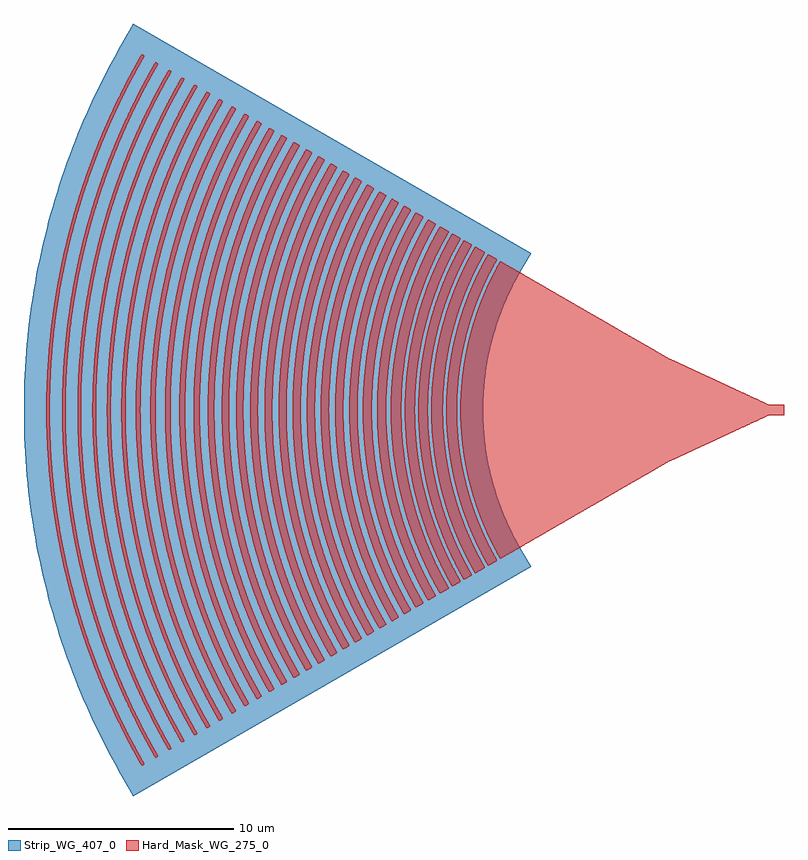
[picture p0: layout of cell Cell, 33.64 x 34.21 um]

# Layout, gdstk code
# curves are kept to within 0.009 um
import gdstk
lib = gdstk.Library(unit=1e-6, precision=1e-09)
def P(c, l, *ps):  # polygons
    for p in ps: c.add(gdstk.Polygon(p, *l))
Hard_Mask_WG_275_0 = (275, 0)
Strip_WG_407_0 = (407, 0)

cell = lib.new_cell('Cell')
P(cell, Hard_Mask_WG_275_0, [(25.743,21.104),(25.692,21.15),(25.253,21.96),(24.988,22.5),(24.678,23.19),(24.435,23.79),(24.204,24.42),(23.988,25.08),(23.806,25.71),(23.54,26.82),(23.42,27.45),(23.325,28.05),(23.24,28.74),(23.182,29.4),(23.148,30),(23.136,30.6),(23.143,31.38),(23.172,31.98),(23.267,33.03),(23.356,33.69),(23.48,34.41),(23.592,34.95),(23.75,35.61),(23.898,36.15),(24.173,37.02),(24.344,37.5),(24.615,38.19),(24.918,38.88),(25.253,39.57),(25.692,40.38),(25.743,40.426),(25.995,40.29),(26.028,40.26),(26.026,40.23),(25.679,39.6),(25.377,39),(25.075,38.34),(24.838,37.77),(24.633,37.23),(24.417,36.6),(24.209,35.91),(24.028,35.22),(23.795,34.11),(23.644,33.12),(23.551,32.19),(23.522,31.74),(23.499,30.87),(23.522,29.79),(23.613,28.677),(23.763,27.605),(23.972,26.55),(24.119,25.95),(24.332,25.2),(24.548,24.54),(24.779,23.91),(25.049,23.25),(25.377,22.53),(25.679,21.93),(26.026,21.3),(26.028,21.27),(25.995,21.24)],
  [(15.843,15.38),(15.802,15.391),(15.693,15.575),(15.019,16.831),(14.511,17.881),(14.114,18.781),(13.727,19.741),(13.336,20.82),(13.035,21.75),(12.766,22.68),(12.529,23.61),(12.291,24.69),(12.109,25.68),(11.964,26.64),(11.84,27.69),(11.753,28.74),(11.71,29.55),(11.686,30.63),(11.695,31.5),(11.745,32.67),(11.834,33.78),(11.928,34.62),(12.079,35.67),(12.285,36.81),(12.529,37.92),(12.766,38.85),(13.035,39.78),(13.336,40.71),(13.727,41.789),(14.114,42.749),(14.511,43.649),(15.019,44.699),(15.693,45.955),(15.802,46.139),(15.843,46.15),(15.913,46.109),(15.933,46.079),(15.925,46.049),(15.379,45.059),(14.883,44.076),(14.433,43.1),(13.983,42.021),(13.679,41.219),(13.378,40.35),(13.079,39.39),(12.838,38.52),(12.603,37.56),(12.389,36.54),(12.211,35.52),(12.091,34.68),(11.971,33.6),(11.913,32.881),(11.853,31.688),(11.842,30.9),(11.851,29.91),(11.883,29.13),(11.942,28.26),(12.061,27.09),(12.211,26.01),(12.389,24.99),(12.603,23.97),(12.807,23.13),(13.079,22.14),(13.378,21.18),(13.679,20.311),(13.983,19.509),(14.433,18.43),(14.883,17.454),(15.379,16.471),(15.925,15.481),(15.933,15.451),(15.913,15.421)],
  [(30.543,23.879),(30.511,23.91),(30.443,24.03),(30.172,24.54),(29.927,25.05),(29.744,25.47),(29.447,26.25),(29.178,27.12),(28.97,27.99),(28.82,28.86),(28.726,29.73),(28.689,30.6),(28.699,31.35),(28.726,31.8),(28.788,32.43),(28.934,33.36),(29.122,34.2),(29.3,34.83),(29.447,35.28),(29.744,36.06),(29.927,36.48),(30.172,36.99),(30.443,37.5),(30.511,37.62),(30.543,37.651),(30.573,37.646),(30.903,37.456),(30.935,37.41),(30.498,36.57),(30.175,35.85),(29.881,35.07),(29.641,34.29),(29.433,33.42),(29.311,32.73),(29.252,32.28),(29.195,31.65),(29.166,30.87),(29.191,29.94),(29.252,29.25),(29.37,28.44),(29.491,27.84),(29.585,27.45),(29.821,26.64),(30.114,25.83),(30.469,25.02),(30.935,24.12),(30.903,24.074),(30.573,23.884)],
  [(15.213,15.029),(15.181,15.061),(14.877,15.601),(14.281,16.741),(13.783,17.791),(13.393,18.691),(12.979,19.741),(12.648,20.671),(12.313,21.72),(12.082,22.53),(11.838,23.49),(11.626,24.45),(11.45,25.38),(11.274,26.52),(11.152,27.54),(11.064,28.56),(11.003,29.73),(10.988,30.54),(10.995,31.53),(11.032,32.46),(11.114,33.6),(11.238,34.74),(11.385,35.76),(11.566,36.78),(11.775,37.77),(12.018,38.76),(12.286,39.72),(12.618,40.77),(12.979,41.789),(13.368,42.779),(13.783,43.739),(14.281,44.789),(14.877,45.929),(15.181,46.469),(15.213,46.501),(15.303,46.462),(15.325,46.439),(15.324,46.409),(14.762,45.389),(14.223,44.318),(13.739,43.259),(13.317,42.239),(13.022,41.459),(12.691,40.5),(12.447,39.72),(12.154,38.67),(11.913,37.68),(11.729,36.81),(11.551,35.82),(11.401,34.8),(11.313,34.05),(11.224,33.06),(11.163,31.98),(11.143,30.99),(11.154,29.88),(11.191,28.98),(11.253,28.11),(11.371,26.97),(11.522,25.89),(11.7,24.87),(11.913,23.85),(12.123,22.98),(12.334,22.2),(12.633,21.21),(12.936,20.311),(13.233,19.507),(13.683,18.401),(14.19,17.281),(14.699,16.261),(15.324,15.121),(15.325,15.091),(15.303,15.068)],
  [(26.283,21.422),(26.253,21.454),(26.103,21.72),(25.801,22.29),(25.496,22.92),(25.244,23.49),(24.827,24.57),(24.647,25.11),(24.434,25.83),(24.167,26.94),(24.073,27.42),(23.961,28.11),(23.833,29.25),(23.785,30.06),(23.772,30.63),(23.78,31.35),(23.807,31.92),(23.863,32.61),(23.928,33.18),(24.016,33.78),(24.136,34.44),(24.378,35.49),(24.528,36.03),(24.765,36.78),(24.98,37.38),(25.194,37.92),(25.441,38.49),(25.696,39.03),(26.037,39.69),(26.253,40.076),(26.283,40.108),(26.313,40.106),(26.553,39.968),(26.58,39.93),(26.178,39.18),(25.925,38.67),(25.587,37.92),(25.38,37.41),(25.138,36.75),(24.961,36.21),(24.786,35.61),(24.603,34.883),(24.42,33.99),(24.273,33.017),(24.183,32.103),(24.152,31.59),(24.137,30.93),(24.152,29.94),(24.243,28.77),(24.364,27.87),(24.57,26.79),(24.722,26.16),(24.897,25.53),(25.138,24.78),(25.38,24.12),(25.587,23.61),(25.925,22.86),(26.178,22.35),(26.58,21.6),(26.553,21.562),(26.313,21.424)],
  [(19.773,17.657),(19.724,17.701),(19.554,18.001),(19.023,19.006),(18.655,19.771),(18.285,20.611),(17.961,21.42),(17.688,22.17),(17.422,22.98),(17.176,23.82),(16.939,24.75),(16.762,25.56),(16.611,26.37),(16.491,27.15),(16.397,27.9),(16.312,28.83),(16.257,29.85),(16.241,30.63),(16.247,31.38),(16.279,32.19),(16.341,33.06),(16.451,34.08),(16.572,34.92),(16.726,35.79),(16.939,36.78),(17.176,37.71),(17.422,38.55),(17.688,39.36),(17.961,40.11),(18.285,40.919),(18.655,41.759),(19.023,42.524),(19.554,43.529),(19.724,43.829),(19.773,43.873),(19.923,43.795),(19.951,43.769),(19.952,43.739),(19.521,42.959),(19.138,42.209),(18.718,41.309),(18.387,40.53),(18.031,39.6),(17.763,38.82),(17.493,37.938),(17.285,37.17),(17.133,36.54),(16.953,35.682),(16.803,34.83),(16.711,34.2),(16.622,33.45),(16.533,32.374),(16.5,31.71),(16.486,30.96),(16.5,29.82),(16.531,29.19),(16.593,28.379),(16.653,27.801),(16.74,27.12),(16.889,26.19),(17.073,25.26),(17.255,24.48),(17.462,23.7),(17.763,22.71),(18.031,21.93),(18.387,21),(18.718,20.221),(19.138,19.321),(19.521,18.571),(19.952,17.791),(19.951,17.761),(19.923,17.735)],
  [(21.423,18.605),(21.393,18.61),(21.355,18.661),(20.787,19.711),(20.403,20.501),(20.061,21.27),(19.758,22.02),(19.494,22.74),(19.274,23.4),(19.007,24.3),(18.828,24.99),(18.651,25.77),(18.501,26.55),(18.381,27.3),(18.285,28.05),(18.201,28.95),(18.161,29.61),(18.134,30.54),(18.137,31.23),(18.168,32.07),(18.225,32.88),(18.317,33.75),(18.431,34.56),(18.561,35.31),(18.736,36.15),(18.919,36.9),(19.127,37.65),(19.432,38.61),(19.667,39.27),(19.973,40.05),(20.366,40.949),(20.787,41.819),(21.355,42.869),(21.393,42.92),(21.423,42.925),(21.603,42.825),(21.635,42.779),(21.179,41.939),(20.875,41.339),(20.484,40.5),(20.155,39.72),(19.858,38.94),(19.62,38.25),(19.406,37.56),(19.175,36.72),(18.996,35.97),(18.842,35.22),(18.722,34.53),(18.631,33.9),(18.544,33.15),(18.483,32.43),(18.446,31.74),(18.427,30.96),(18.453,29.61),(18.511,28.74),(18.573,28.109),(18.664,27.39),(18.782,26.64),(18.963,25.71),(19.115,25.05),(19.323,24.259),(19.562,23.46),(19.858,22.59),(20.155,21.81),(20.484,21.03),(20.875,20.191),(21.179,19.591),(21.635,18.751),(21.603,18.705)],
  [(21.963,18.914),(21.933,18.917),(21.903,18.954),(21.363,19.949),(20.967,20.76),(20.659,21.45),(20.354,22.2),(20.057,23.01),(19.784,23.85),(19.577,24.57),(19.402,25.26),(19.217,26.1),(19.1,26.73),(18.983,27.48),(18.89,28.23),(18.826,28.92),(18.77,29.88),(18.756,30.63),(18.764,31.47),(18.797,32.19),(18.854,32.94),(18.943,33.75),(19.065,34.59),(19.217,35.43),(19.402,36.27),(19.577,36.96),(19.784,37.68),(20.057,38.52),(20.354,39.33),(20.659,40.08),(20.967,40.77),(21.363,41.581),(21.903,42.576),(21.933,42.613),(21.963,42.616),(22.173,42.495),(22.194,42.449),(21.8,41.729),(21.423,40.986),(21.059,40.2),(20.756,39.48),(20.459,38.7),(20.252,38.1),(20.01,37.32),(19.774,36.45),(19.619,35.79),(19.473,35.072),(19.354,34.38),(19.26,33.72),(19.171,32.91),(19.114,32.16),(19.075,30.99),(19.081,30.12),(19.112,29.4),(19.204,28.29),(19.292,27.57),(19.413,26.79),(19.561,26.01),(19.708,25.35),(19.9,24.6),(20.165,23.7),(20.459,22.83),(20.732,22.11),(21.059,21.33),(21.393,20.606),(21.721,19.951),(22.194,19.081),(22.173,19.035)],
  [(16.413,15.719),(16.378,15.751),(16.143,16.167),(15.601,17.191),(15.179,18.061),(14.715,19.111),(14.331,20.071),(13.995,21),(13.693,21.93),(13.424,22.86),(13.187,23.79),(12.981,24.72),(12.795,25.71),(12.652,26.64),(12.532,27.63),(12.438,28.71),(12.386,29.73),(12.369,30.6),(12.377,31.53),(12.434,32.76),(12.496,33.54),(12.612,34.59),(12.736,35.46),(12.915,36.48),(13.124,37.47),(13.336,38.34),(13.603,39.3),(13.934,40.35),(14.297,41.369),(14.64,42.239),(15.055,43.199),(15.481,44.099),(15.993,45.089),(16.343,45.719),(16.413,45.811),(16.503,45.769),(16.522,45.749),(16.521,45.719),(15.96,44.699),(15.477,43.739),(15.033,42.77),(14.577,41.669),(14.285,40.889),(14.007,40.08),(13.737,39.21),(13.472,38.25),(13.289,37.5),(13.084,36.54),(12.931,35.7),(12.783,34.711),(12.693,33.963),(12.603,32.971),(12.543,31.92),(12.524,30.93),(12.537,29.82),(12.571,29.04),(12.634,28.17),(12.753,27.051),(12.873,26.19),(13.049,25.17),(13.228,24.3),(13.472,23.28),(13.737,22.32),(14.007,21.45),(14.285,20.641),(14.577,19.861),(14.973,18.898),(15.477,17.791),(15.96,16.831),(16.521,15.811),(16.522,15.781),(16.503,15.761)],
  [(18.663,17.01),(18.633,17.015),(18.573,17.103),(17.943,18.27),(17.477,19.231),(17.119,20.041),(16.757,20.94),(16.483,21.69),(16.186,22.59),(15.915,23.52),(15.707,24.33),(15.501,25.26),(15.348,26.07),(15.199,27.03),(15.107,27.78),(15.017,28.77),(14.964,29.73),(14.947,30.54),(14.954,31.5),(14.988,32.31),(15.048,33.15),(15.138,34.02),(15.26,34.92),(15.407,35.79),(15.59,36.69),(15.827,37.68),(16.068,38.55),(16.401,39.6),(16.723,40.5),(17.056,41.339),(17.477,42.299),(17.912,43.199),(18.557,44.399),(18.609,44.489),(18.633,44.515),(18.663,44.52),(18.783,44.453),(18.804,44.429),(18.8,44.399),(18.289,43.469),(17.793,42.476),(17.343,41.476),(16.926,40.44),(16.686,39.78),(16.417,38.97),(16.201,38.25),(15.991,37.47),(15.813,36.72),(15.633,35.85),(15.511,35.16),(15.361,34.11),(15.273,33.3),(15.213,32.538),(15.182,31.98),(15.156,30.87),(15.173,29.82),(15.21,29.04),(15.273,28.23),(15.361,27.42),(15.511,26.37),(15.633,25.68),(15.813,24.81),(15.991,24.06),(16.201,23.28),(16.417,22.56),(16.686,21.75),(16.926,21.09),(17.343,20.054),(17.793,19.054),(18.289,18.061),(18.8,17.131),(18.804,17.101),(18.783,17.077)],
  [(19.203,17.33),(19.164,17.371),(18.903,17.836),(18.409,18.781),(18.05,19.531),(17.656,20.431),(17.3,21.33),(17.032,22.08),(16.788,22.83),(16.519,23.76),(16.307,24.6),(16.129,25.41),(15.947,26.4),(15.831,27.18),(15.741,27.93),(15.65,28.98),(15.615,29.61),(15.591,30.6),(15.607,31.68),(15.644,32.46),(15.705,33.24),(15.796,34.08),(15.947,35.13),(16.099,35.97),(16.279,36.81),(16.487,37.65),(16.724,38.49),(16.971,39.27),(17.3,40.2),(17.631,41.039),(18.05,41.999),(18.409,42.749),(18.903,43.694),(19.164,44.159),(19.203,44.2),(19.353,44.124),(19.379,44.099),(19.38,44.069),(18.963,43.316),(18.535,42.479),(18.153,41.663),(17.76,40.74),(17.459,39.96),(17.127,39),(16.887,38.22),(16.649,37.35),(16.443,36.48),(16.295,35.76),(16.144,34.89),(16.022,34.02),(15.932,33.18),(15.871,32.37),(15.841,31.77),(15.825,30.84),(15.841,29.76),(15.871,29.16),(15.932,28.35),(16.022,27.51),(16.144,26.64),(16.295,25.77),(16.443,25.05),(16.649,24.18),(16.887,23.31),(17.127,22.53),(17.459,21.57),(17.76,20.79),(18.153,19.867),(18.535,19.051),(18.963,18.214),(19.38,17.461),(19.379,17.431),(19.353,17.406)],
  [(24.663,20.479),(24.633,20.496),(24.603,20.54),(24.173,21.33),(23.848,21.99),(23.513,22.74),(23.236,23.43),(23.028,24),(22.793,24.72),(22.61,25.35),(22.456,25.95),(22.309,26.61),(22.189,27.24),(22.069,28.02),(21.948,29.16),(21.913,29.7),(21.886,30.57),(21.89,31.23),(21.916,31.89),(21.974,32.67),(22.038,33.27),(22.13,33.93),(22.244,34.59),(22.366,35.19),(22.546,35.94),(22.729,36.6),(22.936,37.26),(23.213,38.04),(23.488,38.73),(23.778,39.39),(24.112,40.08),(24.603,40.99),(24.633,41.034),(24.663,41.051),(24.933,40.9),(24.947,40.859),(24.602,40.23),(24.297,39.63),(24.03,39.06),(23.699,38.28),(23.459,37.65),(23.195,36.87),(22.981,36.15),(22.803,35.456),(22.566,34.32),(22.473,33.752),(22.385,33.09),(22.291,32.04),(22.262,31.47),(22.253,30.87),(22.262,30.06),(22.291,29.49),(22.385,28.44),(22.473,27.778),(22.566,27.21),(22.773,26.202),(22.981,25.38),(23.157,24.78),(23.374,24.12),(23.64,23.4),(23.937,22.68),(24.239,22.02),(24.539,21.42),(24.947,20.671),(24.933,20.63)],
  [(29.973,23.547),(29.936,23.58),(29.58,24.24),(29.176,25.11),(28.971,25.62),(28.787,26.13),(28.515,27.03),(28.311,27.9),(28.158,28.8),(28.068,29.64),(28.034,30.21),(28.026,30.66),(28.038,31.41),(28.068,31.89),(28.127,32.49),(28.276,33.45),(28.368,33.9),(28.515,34.5),(28.787,35.4),(28.971,35.91),(29.176,36.42),(29.58,37.29),(29.936,37.95),(29.973,37.983),(30.36,37.77),(30.395,37.74),(30.395,37.71),(29.964,36.9),(29.611,36.12),(29.283,35.25),(29.043,34.47),(28.833,33.6),(28.683,32.747),(28.594,31.98),(28.562,31.53),(28.543,30.81),(28.563,29.983),(28.652,29.01),(28.774,28.23),(28.979,27.3),(29.223,26.46),(29.574,25.5),(29.964,24.63),(30.395,23.82),(30.395,23.79),(30.36,23.76)],
  [(24.123,20.172),(24.077,20.221),(23.941,20.461),(23.544,21.21),(23.239,21.84),(22.934,22.53),(22.669,23.19),(22.398,23.94),(22.186,24.6),(22.005,25.23),(21.831,25.92),(21.681,26.61),(21.56,27.27),(21.473,27.84),(21.382,28.59),(21.32,29.31),(21.288,29.88),(21.273,30.63),(21.28,31.41),(21.314,32.13),(21.373,32.85),(21.437,33.42),(21.555,34.23),(21.675,34.89),(21.796,35.46),(21.973,36.18),(22.186,36.93),(22.398,37.59),(22.635,38.25),(22.884,38.88),(23.184,39.57),(23.454,40.14),(23.875,40.949),(24.077,41.309),(24.123,41.358),(24.153,41.353),(24.363,41.232),(24.401,41.189),(24.393,41.159),(23.997,40.44),(23.638,39.72),(23.378,39.15),(23.066,38.4),(22.798,37.68),(22.588,37.05),(22.408,36.45),(22.203,35.667),(21.961,34.53),(21.784,33.39),(21.723,32.853),(21.663,32.133),(21.633,31.568),(21.621,30.96),(21.633,29.962),(21.663,29.397),(21.723,28.677),(21.812,27.93),(21.903,27.33),(22.14,26.13),(22.323,25.391),(22.532,24.66),(22.798,23.85),(23.066,23.13),(23.274,22.62),(23.638,21.81),(23.997,21.09),(24.393,20.371),(24.401,20.341),(24.363,20.298),(24.153,20.177)],
  [(22.503,19.231),(22.473,19.245),(22.442,19.291),(21.953,20.191),(21.584,20.94),(21.235,21.72),(20.954,22.41),(20.657,23.22),(20.478,23.76),(20.236,24.57),(20.034,25.35),(19.878,26.04),(19.729,26.82),(19.612,27.57),(19.523,28.29),(19.459,28.98),(19.403,29.97),(19.391,30.54),(19.398,31.41),(19.428,32.1),(19.484,32.85),(19.572,33.66),(19.665,34.32),(19.812,35.16),(19.97,35.91),(20.147,36.63),(20.385,37.47),(20.626,38.22),(20.874,38.91),(21.147,39.6),(21.473,40.35),(21.843,41.122),(22.374,42.119),(22.46,42.269),(22.503,42.299),(22.713,42.185),(22.75,42.149),(22.746,42.119),(22.316,41.339),(21.926,40.56),(21.638,39.93),(21.3,39.12),(20.998,38.31),(20.759,37.59),(20.554,36.9),(20.343,36.09),(20.22,35.55),(20.072,34.8),(19.954,34.08),(19.863,33.39),(19.804,32.82),(19.743,31.967),(19.711,30.84),(19.742,29.58),(19.804,28.71),(19.863,28.14),(20.04,26.91),(20.164,26.25),(20.343,25.44),(20.554,24.63),(20.759,23.94),(20.998,23.22),(21.3,22.41),(21.638,21.6),(21.926,20.97),(22.316,20.191),(22.746,19.411),(22.75,19.381),(22.713,19.345)],
  [(20.853,18.287),(20.549,18.811),(20.097,19.681),(19.741,20.431),(19.453,21.09),(19.152,21.84),(18.889,22.56),(18.623,23.37),(18.378,24.21),(18.201,24.9),(17.989,25.86),(17.836,26.7),(17.72,27.48),(17.632,28.23),(17.571,28.92),(17.517,29.94),(17.503,30.66),(17.509,31.35),(17.54,32.13),(17.595,32.91),(17.712,33.99),(17.836,34.83),(17.989,35.67),(18.11,36.24),(18.346,37.2),(18.586,38.04),(18.827,38.79),(19.095,39.54),(19.378,40.26),(19.741,41.099),(20.097,41.849),(20.549,42.719),(20.853,43.243),(20.883,43.241),(21.055,43.139),(21.077,43.109),(21.07,43.079),(20.673,42.362),(20.274,41.579),(19.858,40.68),(19.556,39.96),(19.291,39.27),(19.02,38.49),(18.751,37.62),(18.517,36.75),(18.329,35.94),(18.18,35.19),(18.06,34.47),(17.973,33.842),(17.883,33.013),(17.823,32.22),(17.792,31.56),(17.783,30.96),(17.792,29.97),(17.823,29.31),(17.883,28.517),(17.943,27.938),(18.06,27.06),(18.18,26.34),(18.329,25.59),(18.48,24.93),(18.717,24.03),(18.933,23.31),(19.226,22.44),(19.532,21.63),(19.858,20.85),(20.274,19.951),(20.673,19.168),(21.07,18.451),(21.077,18.421),(21.055,18.391),(20.883,18.289)],
  [(26.823,21.733),(26.793,21.765),(26.632,22.05),(26.272,22.74),(25.989,23.34),(25.756,23.88),(25.544,24.42),(25.341,24.99),(25.006,26.1),(24.857,26.7),(24.735,27.27),(24.556,28.35),(24.498,28.83),(24.437,29.52),(24.409,30.03),(24.396,30.69),(24.401,31.26),(24.437,32.01),(24.498,32.7),(24.556,33.18),(24.735,34.26),(24.857,34.83),(25.006,35.43),(25.341,36.54),(25.544,37.11),(25.756,37.65),(25.989,38.19),(26.272,38.79),(26.632,39.48),(26.793,39.765),(26.823,39.797),(26.853,39.794),(27.087,39.66),(27.122,39.63),(27.123,39.599),(26.823,39.053),(26.552,38.52),(26.287,37.95),(26.01,37.29),(25.764,36.63),(25.556,36),(25.382,35.4),(25.23,34.8),(25.055,33.96),(24.902,32.97),(24.812,32.07),(24.783,31.59),(24.767,30.9),(24.783,29.94),(24.812,29.46),(24.873,28.808),(24.993,27.93),(25.176,26.97),(25.323,26.354),(25.501,25.71),(25.712,25.05),(25.917,24.48),(26.183,23.82),(26.466,23.19),(26.748,22.62),(27.123,21.931),(27.122,21.9),(27.087,21.87),(26.853,21.736)],
  [(16.983,16.05),(16.951,16.081),(16.615,16.681),(16.13,17.611),(15.686,18.541),(15.256,19.531),(14.902,20.431),(14.541,21.45),(14.293,22.23),(14.028,23.16),(13.845,23.88),(13.607,24.96),(13.461,25.74),(13.311,26.7),(13.19,27.69),(13.101,28.71),(13.047,29.76),(13.03,30.63),(13.037,31.47),(13.068,32.28),(13.131,33.21),(13.248,34.35),(13.396,35.4),(13.548,36.27),(13.761,37.29),(13.996,38.25),(14.239,39.12),(14.541,40.08),(14.902,41.099),(15.256,41.999),(15.686,42.989),(16.13,43.919),(16.615,44.849),(16.951,45.449),(16.983,45.48),(17.073,45.44),(17.094,45.419),(17.096,45.389),(16.533,44.363),(16.023,43.342),(15.539,42.269),(15.149,41.309),(14.883,40.591),(14.607,39.78),(14.367,39),(14.158,38.25),(13.949,37.41),(13.713,36.3),(13.564,35.46),(13.44,34.62),(13.353,33.894),(13.263,32.899),(13.203,31.809),(13.188,30.96),(13.2,29.82),(13.232,29.1),(13.32,27.96),(13.413,27.12),(13.564,26.07),(13.713,25.23),(13.893,24.367),(14.103,23.492),(14.315,22.71),(14.578,21.84),(14.819,21.12),(15.149,20.221),(15.539,19.261),(16.023,18.188),(16.533,17.167),(17.096,16.141),(17.094,16.111),(17.073,16.09)],
  [(31.083,24.191),(30.993,24.326),(30.75,24.78),(30.531,25.23),(30.346,25.65),(30.025,26.49),(29.776,27.3),(29.57,28.17),(29.421,29.07),(29.357,29.67),(29.329,30.09),(29.314,30.69),(29.329,31.44),(29.357,31.86),(29.417,32.43),(29.535,33.18),(29.72,34.02),(29.955,34.83),(30.259,35.67),(30.436,36.09),(30.66,36.57),(30.957,37.14),(31.053,37.309),(31.083,37.339),(31.113,37.335),(31.233,37.266),(38.523,33.059),(42.933,31.011),(43.023,30.99),(43.638,30.99),(43.638,30.54),(43.023,30.54),(42.933,30.519),(38.523,28.471),(31.233,24.264),(31.113,24.195)],
  [(28.413,22.651),(28.384,22.68),(28.232,22.95),(27.89,23.61),(27.445,24.6),(27.076,25.59),(26.778,26.58),(26.535,27.63),(26.393,28.47),(26.325,29.01),(26.269,29.64),(26.231,30.6),(26.236,31.23),(26.263,31.8),(26.353,32.76),(26.415,33.21),(26.535,33.9),(26.778,34.95),(27.076,35.94),(27.445,36.93),(27.89,37.92),(28.232,38.58),(28.384,38.85),(28.413,38.879),(28.443,38.876),(28.773,38.686),(28.801,38.64),(28.283,37.65),(27.906,36.81),(27.544,35.85),(27.267,34.95),(27.15,34.5),(27.004,33.84),(26.852,32.94),(26.793,32.461),(26.733,31.77),(26.702,30.96),(26.703,30.48),(26.733,29.76),(26.824,28.8),(26.913,28.192),(27.004,27.69),(27.211,26.79),(27.335,26.34),(27.513,25.772),(27.869,24.81),(28.283,23.88),(28.801,22.89),(28.773,22.844),(28.443,22.654)],
  [(18.093,16.689),(18.063,16.713),(17.761,17.251),(17.245,18.241),(16.791,19.201),(16.454,19.981),(16.099,20.88),(15.769,21.81),(15.557,22.47),(15.288,23.4),(15.074,24.24),(14.869,25.17),(14.692,26.13),(14.569,26.94),(14.448,27.96),(14.39,28.62),(14.33,29.64),(14.311,30.57),(14.321,31.62),(14.359,32.46),(14.445,33.54),(14.537,34.35),(14.653,35.16),(14.81,36.06),(15.018,37.05),(15.224,37.89),(15.44,38.67),(15.769,39.72),(16.099,40.65),(16.454,41.549),(16.791,42.329),(17.245,43.289),(17.761,44.279),(18.063,44.817),(18.093,44.841),(18.213,44.782),(18.233,44.759),(18.229,44.729),(17.703,43.772),(17.221,42.809),(16.798,41.879),(16.323,40.71),(16.05,39.96),(15.839,39.33),(15.627,38.64),(15.395,37.8),(15.211,37.05),(15.031,36.21),(14.853,35.22),(14.733,34.398),(14.64,33.6),(14.553,32.552),(14.523,32.01),(14.497,30.93),(14.513,29.82),(14.551,29.01),(14.611,28.23),(14.7,27.39),(14.82,26.52),(14.973,25.62),(15.15,24.75),(15.364,23.85),(15.575,23.07),(15.782,22.38),(16.05,21.57),(16.323,20.82),(16.798,19.651),(17.221,18.721),(17.703,17.758),(18.229,16.801),(18.233,16.771),(18.213,16.748)],
  [(23.043,19.542),(23.007,19.561),(22.953,19.649),(22.436,20.611),(22.046,21.42),(21.795,21.99),(21.493,22.74),(21.263,23.37),(20.988,24.21),(20.806,24.84),(20.629,25.53),(20.482,26.19),(20.36,26.82),(20.239,27.57),(20.151,28.26),(20.082,28.98),(20.029,29.85),(20.014,30.57),(20.021,31.44),(20.054,32.16),(20.111,32.88),(20.179,33.51),(20.266,34.14),(20.387,34.86),(20.533,35.58),(20.742,36.45),(20.961,37.23),(21.201,37.98),(21.436,38.64),(21.707,39.33),(22.046,40.11),(22.346,40.74),(22.884,41.759),(23.007,41.969),(23.043,41.988),(23.283,41.853),(23.303,41.819),(23.296,41.789),(22.915,41.099),(22.537,40.35),(22.233,39.69),(21.895,38.88),(21.633,38.18),(21.393,37.467),(21.178,36.75),(20.974,35.97),(20.825,35.31),(20.702,34.68),(20.52,33.48),(20.403,32.254),(20.37,31.65),(20.355,30.81),(20.37,29.88),(20.403,29.276),(20.52,28.05),(20.702,26.85),(20.825,26.22),(20.974,25.56),(21.178,24.78),(21.393,24.063),(21.633,23.35),(21.895,22.65),(22.233,21.84),(22.537,21.18),(22.915,20.431),(23.296,19.741),(23.303,19.711),(23.283,19.677)],
  [(23.583,19.857),(23.544,19.891),(23.425,20.101),(23.009,20.88),(22.674,21.57),(22.368,22.26),(22.125,22.86),(21.86,23.58),(21.623,24.3),(21.405,25.05),(21.23,25.74),(21.079,26.43),(20.961,27.06),(20.841,27.84),(20.753,28.59),(20.695,29.28),(20.66,29.91),(20.646,30.6),(20.653,31.41),(20.683,32.07),(20.722,32.61),(20.806,33.42),(20.897,34.08),(21.02,34.8),(21.168,35.52),(21.349,36.27),(21.559,37.02),(21.798,37.77),(22.045,38.46),(22.343,39.21),(22.674,39.96),(23.009,40.65),(23.425,41.429),(23.544,41.639),(23.583,41.673),(23.823,41.543),(23.851,41.519),(23.857,41.489),(23.448,40.74),(23.131,40.11),(22.826,39.45),(22.476,38.61),(22.198,37.86),(21.96,37.14),(21.75,36.42),(21.574,35.73),(21.33,34.56),(21.153,33.39),(21.091,32.82),(21.033,32.087),(21.002,31.44),(20.994,30.84),(21.002,30.09),(21.033,29.443),(21.091,28.71),(21.153,28.14),(21.33,26.97),(21.574,25.8),(21.75,25.11),(21.96,24.39),(22.198,23.67),(22.476,22.92),(22.826,22.08),(23.131,21.42),(23.448,20.79),(23.857,20.041),(23.851,20.011),(23.823,19.987)],
  [(27.363,22.035),(27.333,22.043),(27.305,22.08),(26.93,22.77),(26.636,23.37),(26.357,24),(25.966,25.02),(25.788,25.56),(25.613,26.16),(25.489,26.64),(25.336,27.33),(25.159,28.38),(25.096,28.89),(25.042,29.49),(25.009,30.06),(24.997,30.66),(25.003,31.29),(25.032,31.89),(25.096,32.64),(25.151,33.09),(25.336,34.2),(25.489,34.89),(25.613,35.37),(25.935,36.42),(26.13,36.96),(26.357,37.53),(26.636,38.16),(26.93,38.76),(27.305,39.45),(27.333,39.487),(27.363,39.495),(27.652,39.33),(27.672,39.3),(27.664,39.27),(27.319,38.64),(27.051,38.1),(26.754,37.44),(26.547,36.93),(26.338,36.36),(26.161,35.82),(25.979,35.19),(25.83,34.59),(25.623,33.541),(25.502,32.67),(25.443,32.04),(25.412,31.53),(25.398,30.87),(25.412,30),(25.443,29.49),(25.502,28.86),(25.623,27.989),(25.803,27.059),(25.979,26.34),(26.133,25.802),(26.338,25.17),(26.547,24.6),(26.754,24.09),(27.051,23.43),(27.319,22.89),(27.664,22.26),(27.672,22.23),(27.652,22.2)],
  [(25.203,20.793),(25.167,20.82),(25.048,21.03),(24.65,21.78),(24.36,22.38),(24.107,22.95),(23.84,23.61),(23.6,24.27),(23.386,24.93),(23.213,25.53),(23.06,26.13),(22.908,26.82),(22.817,27.3),(22.7,28.05),(22.636,28.56),(22.574,29.22),(22.526,30.09),(22.514,30.72),(22.546,31.89),(22.608,32.7),(22.668,33.24),(22.757,33.87),(22.878,34.56),(22.997,35.13),(23.213,36),(23.386,36.6),(23.6,37.26),(23.84,37.92),(24.107,38.58),(24.36,39.15),(24.65,39.75),(25.048,40.5),(25.167,40.71),(25.203,40.737),(25.469,40.59),(25.488,40.56),(25.48,40.53),(25.133,39.9),(24.787,39.21),(24.539,38.67),(24.239,37.95),(24.003,37.318),(23.792,36.69),(23.587,36),(23.402,35.28),(23.282,34.74),(23.162,34.11),(23.013,33.09),(22.922,32.13),(22.893,31.623),(22.877,30.87),(22.893,29.907),(22.924,29.37),(22.983,28.708),(23.072,27.99),(23.162,27.42),(23.374,26.37),(23.554,25.65),(23.736,25.02),(23.973,24.297),(24.239,23.58),(24.539,22.86),(24.787,22.32),(25.133,21.63),(25.48,21),(25.488,20.97),(25.469,20.94)],
  [(27.903,22.349),(27.873,22.36),(27.837,22.41),(27.48,23.07),(27.213,23.616),(26.961,24.18),(26.567,25.2),(26.388,25.74),(26.213,26.34),(25.969,27.36),(25.787,28.41),(25.67,29.49),(25.636,30.06),(25.624,30.72),(25.63,31.29),(25.66,31.89),(25.755,32.88),(25.842,33.48),(25.939,34.02),(26.09,34.71),(26.213,35.19),(26.388,35.79),(26.567,36.33),(26.961,37.35),(27.213,37.914),(27.48,38.46),(27.837,39.12),(27.873,39.17),(27.903,39.181),(28.178,39.03),(28.216,39),(28.222,38.97),(27.866,38.31),(27.6,37.77),(27.358,37.23),(27.115,36.63),(26.879,35.97),(26.727,35.49),(26.583,34.98),(26.429,34.35),(26.254,33.45),(26.134,32.58),(26.07,31.86),(26.044,31.38),(26.035,30.87),(26.044,30.15),(26.074,29.61),(26.134,28.95),(26.254,28.08),(26.429,27.18),(26.583,26.55),(26.727,26.04),(26.879,25.56),(27.115,24.9),(27.358,24.3),(27.6,23.76),(27.866,23.22),(28.222,22.56),(28.216,22.53),(28.178,22.5)],
  [(17.553,16.373),(17.503,16.411),(17.399,16.591),(16.773,17.762),(16.31,18.721),(15.927,19.591),(15.589,20.431),(15.26,21.33),(14.965,22.23),(14.685,23.19),(14.448,24.12),(14.238,25.08),(14.092,25.86),(13.943,26.82),(13.849,27.57),(13.758,28.53),(13.695,29.58),(13.672,30.57),(13.69,31.8),(13.723,32.49),(13.786,33.33),(13.903,34.41),(14.027,35.28),(14.179,36.15),(14.352,36.99),(14.597,38.01),(14.838,38.88),(15.168,39.93),(15.498,40.859),(15.827,41.699),(16.255,42.689),(16.698,43.619),(17.313,44.785),(17.503,45.119),(17.553,45.157),(17.643,45.111),(17.664,45.089),(17.664,45.059),(17.133,44.093),(16.653,43.137),(16.233,42.219),(15.807,41.189),(15.537,40.47),(15.239,39.6),(15.003,38.834),(14.758,37.95),(14.52,36.96),(14.343,36.096),(14.191,35.22),(14.071,34.38),(13.954,33.3),(13.893,32.476),(13.861,31.83),(13.844,30.87),(13.857,29.85),(13.892,29.07),(13.954,28.23),(14.071,27.15),(14.191,26.31),(14.343,25.434),(14.52,24.57),(14.758,23.58),(15.003,22.696),(15.239,21.93),(15.537,21.06),(15.807,20.341),(16.233,19.311),(16.653,18.393),(17.133,17.437),(17.664,16.471),(17.664,16.441),(17.643,16.419)],
  [(20.313,17.973),(20.283,17.999),(20.043,18.426),(19.619,19.231),(19.256,19.981),(18.884,20.82),(18.582,21.57),(18.317,22.29),(18.02,23.19),(17.776,24.03),(17.569,24.84),(17.39,25.65),(17.244,26.43),(17.122,27.21),(17.028,27.96),(16.936,28.98),(16.888,29.94),(16.874,30.66),(16.881,31.38),(16.936,32.55),(16.994,33.24),(17.082,34.02),(17.175,34.68),(17.325,35.55),(17.506,36.42),(17.688,37.17),(17.929,38.04),(18.164,38.79),(18.502,39.75),(18.772,40.44),(19.143,41.302),(19.529,42.119),(19.98,42.989),(20.283,43.531),(20.313,43.557),(20.343,43.552),(20.493,43.466),(20.515,43.439),(20.51,43.409),(20.103,42.673),(19.713,41.909),(19.323,41.074),(18.989,40.29),(18.655,39.42),(18.386,38.64),(18.145,37.86),(17.908,36.99),(17.73,36.24),(17.553,35.37),(17.341,34.02),(17.252,33.24),(17.194,32.55),(17.157,31.89),(17.131,30.9),(17.133,30.39),(17.163,29.49),(17.223,28.608),(17.311,27.75),(17.431,26.88),(17.553,26.16),(17.703,25.414),(17.848,24.78),(18.059,23.97),(18.299,23.16),(18.601,22.26),(18.929,21.39),(19.228,20.671),(19.593,19.869),(20.043,18.97),(20.51,18.121),(20.515,18.091),(20.493,18.064),(20.343,17.978)],
  [(29.493,23.263),(29.463,23.266),(29.429,23.31),(29.151,23.82),(28.912,24.3),(28.642,24.9),(28.284,25.83),(28.098,26.4),(27.978,26.82),(27.768,27.69),(27.676,28.17),(27.592,28.71),(27.497,29.58),(27.464,30.12),(27.453,30.72),(27.47,31.53),(27.524,32.25),(27.58,32.73),(27.676,33.36),(27.768,33.84),(27.978,34.71),(28.098,35.13),(28.284,35.7),(28.642,36.63),(28.912,37.23),(29.151,37.71),(29.429,38.22),(29.463,38.264),(29.493,38.267),(29.793,38.097),(29.821,38.07),(29.819,38.04),(29.402,37.26),(28.98,36.33),(28.654,35.46),(28.38,34.56),(28.174,33.69),(28.023,32.82),(27.963,32.34),(27.907,31.68),(27.879,30.81),(27.903,29.906),(27.991,28.95),(28.144,27.99),(28.348,27.09),(28.623,26.162),(28.77,25.74),(28.98,25.2),(29.402,24.27),(29.819,23.49),(29.821,23.46),(29.793,23.433)],
  [(28.953,22.964),(28.765,23.28),(28.469,23.85),(28.035,24.81),(27.676,25.77),(27.41,26.64),(27.167,27.66),(26.992,28.71),(26.896,29.64),(26.866,30.18),(26.857,30.72),(26.863,31.26),(26.894,31.86),(26.984,32.76),(27.048,33.21),(27.167,33.87),(27.41,34.89),(27.676,35.76),(28.035,36.72),(28.469,37.68),(28.765,38.25),(28.953,38.566),(28.983,38.565),(29.269,38.4),(29.31,38.37),(29.324,38.34),(28.822,37.38),(28.434,36.51),(28.109,35.64),(27.81,34.65),(27.601,33.75),(27.513,33.271),(27.424,32.67),(27.333,31.701),(27.304,30.84),(27.333,29.829),(27.424,28.86),(27.513,28.259),(27.601,27.78),(27.81,26.88),(28.109,25.89),(28.434,25.02),(28.822,24.15),(29.324,23.19),(29.31,23.16),(29.269,23.13),(28.983,22.965)])
P(cell, Strip_WG_407_0, [(14.842,13.66),(14.177,14.828),(13.686,15.733),(13.223,16.654),(12.791,17.589),(12.388,18.538),(12.015,19.498),(11.566,20.796),(11.266,21.782),(10.997,22.776),(10.759,23.779),(10.553,24.789),(10.329,26.144),(10.199,27.166),(10.101,28.192),(10.021,29.563),(10,30.593),(10.01,31.624),(10.054,32.653),(10.13,33.681),(10.282,35.046),(10.434,36.065),(10.618,37.079),(10.914,38.42),(11.172,39.417),(11.566,40.734),(11.898,41.709),(12.26,42.674),(12.653,43.626),(13.076,44.566),(13.528,45.491),(14.01,46.402),(14.842,47.87),(32.444,37.708),(31.823,36.616),(31.474,35.928),(31.169,35.22),(30.871,34.372),(30.636,33.504),(30.466,32.621),(30.362,31.728),(30.324,30.829),(30.344,30.059),(30.385,29.546),(30.447,29.036),(30.531,28.529),(30.636,28.026),(30.871,27.158),(31.169,26.31),(31.474,25.602),(31.823,24.914),(32.444,23.822)])

lib.write_gds('Cell.gds')
